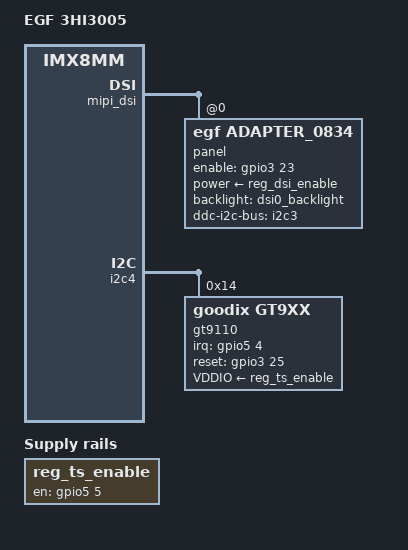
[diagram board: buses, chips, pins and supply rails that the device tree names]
// SPDX-License-Identifier: GPL-2.0+
/*
 * Copyright 2020 NXP
 */

 /dts-v1/;

 #include "imx8mm-egf-3pb1002.dts"
 
 / {
    model = "EGF 3HI3005";

    reg_ts_enable: regulator-ts-ena  {
        compatible = "regulator-fixed";
        regulator-name = "regulator-ts-ena";	
        gpio = <&gpio5 5 GPIO_ACTIVE_HIGH>;
        enable-active-high;
        regulator-always-on;
    };
 };

 &mipi_dsi {
	status = "okay";
	panel@0 {
		compatible = "egf,adapter_0834";
        reg = <0>;
       	dsi-lanes = <4>;
        pinctrl-names = "default";
		ddc-i2c-bus = <&i2c3>;		
		enable-gpio = <&gpio3 23 GPIO_ACTIVE_HIGH>;
		power-supply =  <&reg_dsi_enable>;
		backlight = <&dsi0_backlight>;		
		status = "okay";
	};

};
&i2c4 {
    gt9110@14 {
        
        compatible = "goodix,gt9xx";
        pinctrl-names = "default";
		pinctrl-0 = <&pinctrl_ts>;
        
        reg = <0x14>;
        status = "okay";
        interrupt-parent = <&gpio5>;
        interrupts = <4 IRQ_TYPE_EDGE_FALLING>;
        irq-gpios = <&gpio5 4 GPIO_ACTIVE_HIGH>;
        edge-failling-trigger;
        reset-gpios = <&gpio3 25 GPIO_ACTIVE_HIGH>;
        touchscreen-size-x = <1024>;
        touchscreen-size-y = <600>;


        touchscreen-max-id = <11>;
        touchscreen-max-w = <512>;
        touchscreen-max-p = <512>;
        
        goodix,slide-wakeup = <0>;
        goodix,type-a-report = <0>;
        goodix,driver-send-cfg = <0>;
        goodix,resume-in-workqueue = <0>;
        goodix,int-sync = <1>;
        goodix,swap-x2y = <0>;
        goodix,esd-protect = <1>;
        goodix,auto-update-cfg = <1>;
        goodix,auto-update = <1>;
        goodix,power-off-sleep = <0>;
        goodix,pen-suppress-finger = <0>;
        goodix,cfg-group0 = [];

        VDDIO-supply = <&reg_ts_enable>;
    };
};

&iomuxc {
	pinctrl_ts: tsgrp {
		fsl,pins = <
            MX8MM_IOMUXC_SAI5_MCLK_GPIO3_IO25          0x00000116       /* TS NRESET */
            MX8MM_IOMUXC_SPDIF_RX_GPIO5_IO4            0x00000116       /* TS INT    */
            MX8MM_IOMUXC_SPDIF_EXT_CLK_GPIO5_IO5       0x00000116       /* TS V EN   */
		>;
	};
};
